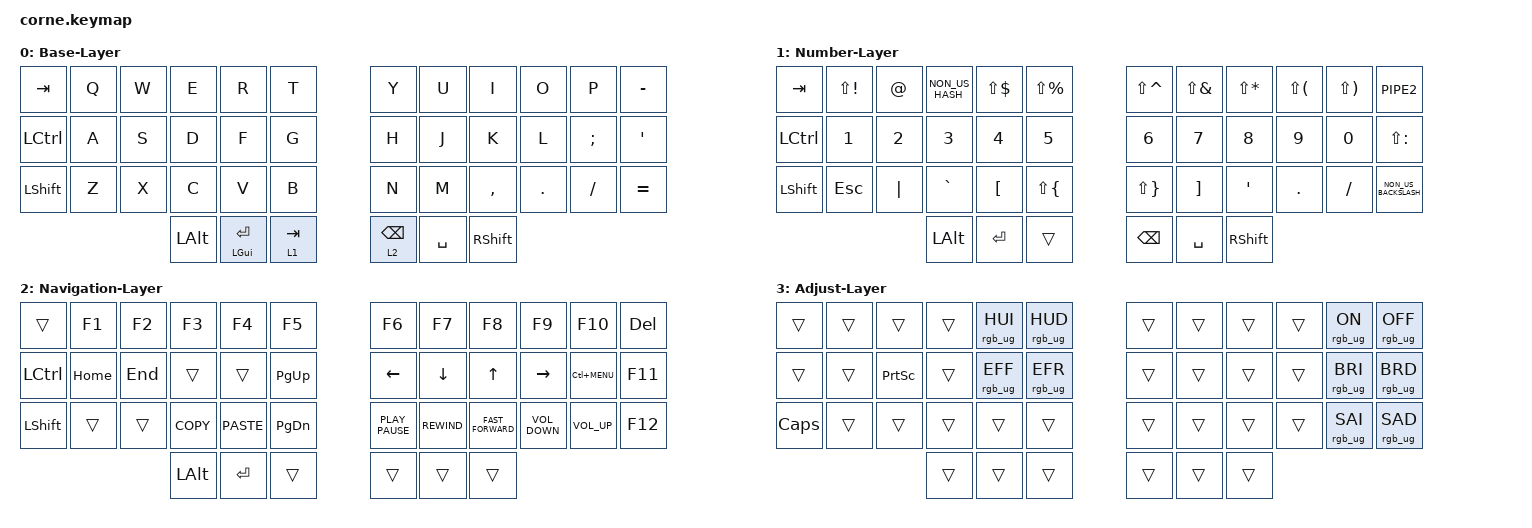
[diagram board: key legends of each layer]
#include <behaviors.dtsi>
#include <dt-bindings/zmk/keys.h>
#include <dt-bindings/zmk/rgb.h>

/ {
    combos {
        compatible = "zmk,combos";

        Escape {
            bindings = <&kp ESC>;
            key-positions = <19 20>;
        };

        Left_Square {
            bindings = <&kp LEFT_BRACKET>;
            key-positions = <4 5>;
        };

        Right_Square {
            bindings = <&kp RIGHT_BRACKET>;
            key-positions = <6 7>;
        };

        Left_Round {
            bindings = <&kp LEFT_PARENTHESIS>;
            key-positions = <16 17>;
        };

        Right_Round {
            bindings = <&kp RIGHT_PARENTHESIS>;
            key-positions = <18 19>;
        };

        Left_Curly {
            bindings = <&kp LEFT_BRACE>;
            key-positions = <28 29>;
        };

        Right_Curly {
            bindings = <&kp RIGHT_BRACE>;
            key-positions = <30 31>;
        };

        Backslash {
            bindings = <&kp NON_US_BACKSLASH>;
            key-positions = <5 30>;
        };

        Forward_Slash {
            bindings = <&kp SLASH>;
            key-positions = <6 29>;
        };
    };

    behaviors {
        Lower: Lower {
            compatible = "zmk,behavior-hold-tap";
            label = "LOWER";
            #binding-cells = <2>;
            bindings = <&mo>, <&kp>;

            tapping-term-ms = <200>;
            hold-trigger-key-positions = <38>;
        };

        Raise: Raise {
            compatible = "zmk,behavior-hold-tap";
            label = "RAISE";
            bindings = <&mo>, <&kp>;

            #binding-cells = <2>;
            tapping-term-ms = <200>;
            hold-trigger-key-positions = <39>;
        };

        Windows: Windows {
            compatible = "zmk,behavior-hold-tap";
            label = "WINDOWS";
            #binding-cells = <2>;
            tapping-term-ms = <100>;
            bindings = <&kp>, <&kp>;

            hold-trigger-key-positions = <37>;
        };
    };

    keymap {
        compatible = "zmk,keymap";

        Base-Layer {
            bindings = <
&kp TAB    &kp Q  &kp W  &kp E     &kp R                  &kp T           &kp Y               &kp U      &kp I      &kp O    &kp P     &kp MINUS
&kp LCTRL  &kp A  &kp S  &kp D     &kp F                  &kp G           &kp H               &kp J      &kp K      &kp L    &kp SEMI  &kp SQT
&kp LSHFT  &kp Z  &kp X  &kp C     &kp V                  &kp B           &kp N               &kp M      &kp COMMA  &kp DOT  &kp FSLH  &kp EQUAL
                         &kp LALT  &Windows LEFT_GUI RET  &Lower 1 TAB    &Raise 2 BACKSPACE  &kp SPACE  &kp RSHFT
            >;
        };

        Number-Layer {
            bindings = <
&kp TAB    &kp LS(EXCL)  &kp AT    &kp NON_US_HASH  &kp LS(DLLR)  &kp LS(PRCNT)         &kp LS(CARET)  &kp LS(AMPS)  &kp LS(STAR)  &kp LS(LPAR)  &kp LS(RPAR)  &kp PIPE2
&kp LCTRL  &kp N1        &kp N2    &kp N3           &kp N4        &kp N5                &kp N6         &kp N7        &kp N8        &kp N9        &kp N0        &kp LS(COLON)
&kp LSHFT  &kp ESC       &kp PIPE  &kp GRAVE        &kp LBKT      &kp LS(LEFT_BRACE)    &kp LS(RBRC)   &kp RBKT      &kp SQT       &kp DOT       &kp FSLH      &kp NON_US_BACKSLASH
                                   &kp LALT         &kp RETURN    &trans                &kp BSPC       &kp SPACE     &kp RSHFT
            >;
        };

        Navigation-Layer {
            bindings = <
&trans     &kp F1    &kp F2   &kp F3      &kp F4       &kp F5       &kp F6            &kp F7        &kp F8              &kp F9             &kp F10          &kp DEL
&kp LCTRL  &kp HOME  &kp END  &trans      &trans       &kp PG_UP    &kp LEFT          &kp DOWN      &kp UP              &kp RIGHT          &kp LC(C_MENU)   &kp F11
&kp LSHFT  &trans    &trans   &kp K_COPY  &kp K_PASTE  &kp PG_DN    &kp K_PLAY_PAUSE  &kp C_REWIND  &kp C_FAST_FORWARD  &kp C_VOLUME_DOWN  &kp C_VOLUME_UP  &kp F12
                              &kp LALT    &kp RET      &trans       &trans            &trans        &trans
            >;
        };

        Adjust-Layer {
            bindings = <
&trans    &trans  &trans           &trans  &rgb_ug RGB_HUI  &rgb_ug RGB_HUD    &trans  &trans  &trans  &trans  &rgb_ug RGB_ON   &rgb_ug RGB_OFF
&trans    &trans  &kp PRINTSCREEN  &trans  &rgb_ug RGB_EFF  &rgb_ug RGB_EFR    &trans  &trans  &trans  &trans  &rgb_ug RGB_BRI  &rgb_ug RGB_BRD
&kp CAPS  &trans  &trans           &trans  &trans           &trans             &trans  &trans  &trans  &trans  &rgb_ug RGB_SAI  &rgb_ug RGB_SAD
                                   &trans  &trans           &trans             &trans  &trans  &trans
            >;
        };
    };
};
